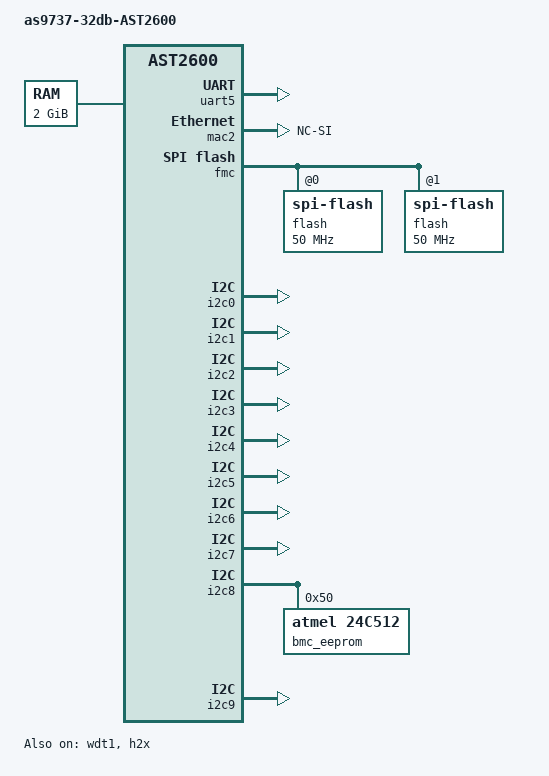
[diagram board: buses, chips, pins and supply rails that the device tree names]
/*
 * Copyright (c) 2020 Accton Inc.
 */

/dts-v1/;

#include "ast2600-u-boot.dtsi"

/ {
        model = "as9737-32db-AST2600";
	memory {
		device_type = "memory";
		reg = <0x80000000 0x80000000>;
	};

	chosen {
		stdout-path = &uart5;
	};

	aliases {
		spi0 = &fmc;
		ethernet0 = &mac2;
	};

	cpus {
		cpu@0 {
			clock-frequency = <800000000>;
		};
		cpu@1 {
			clock-frequency = <800000000>;
		};
	};
};

&uart5 {
	u-boot,dm-pre-reloc;
	status = "okay";
};

&wdt1 {
	u-boot,dm-pre-reloc;
	status = "okay";
};

&mac2 {
	status = "okay";

	phy-mode = "NC-SI";
	use-ncsi;
	pinctrl-names = "default";
	pinctrl-0 = <&pinctrl_rmii3_default &pinctrl_mac3link_default &pinctrl_mdio3_default>;
};

&fmc {
	status = "okay";

	flash@0 {
		compatible = "spi-flash", "sst,w25q256";
		status = "okay";
		spi-max-frequency = <50000000>;
		spi-tx-bus-width = <2>;
		spi-rx-bus-width = <2>;
	};

	flash@1 {
		compatible = "spi-flash", "sst,w25q256";
		status = "okay";
		spi-max-frequency = <50000000>;
		spi-tx-bus-width = <2>;
		spi-rx-bus-width = <2>;
	};
};

&sdrammc {
	clock-frequency = <400000000>;
};

&i2c0 {
	status = "okay";
};

&i2c1 {
	status = "okay";
};

&i2c2 {
	status = "okay";
};

&i2c3 {
	status = "okay";
};

&i2c4 {
	status = "okay";
};

&i2c5 {
	status = "okay";
};

&i2c6 {
	status = "okay";
};

&i2c7 {
	status = "okay";
};

&i2c8 {
	status = "okay";

	pinctrl-names = "default";
	pinctrl-0 = <&pinctrl_i2c9_default>;
	bmc_eeprom: bmc_eeprom@50 {
		compatible = "atmel,24c512";
		reg = <0x50>;
	};
};

&i2c9 {
	status = "okay";
};

&h2x {
	status = "okay";
};
